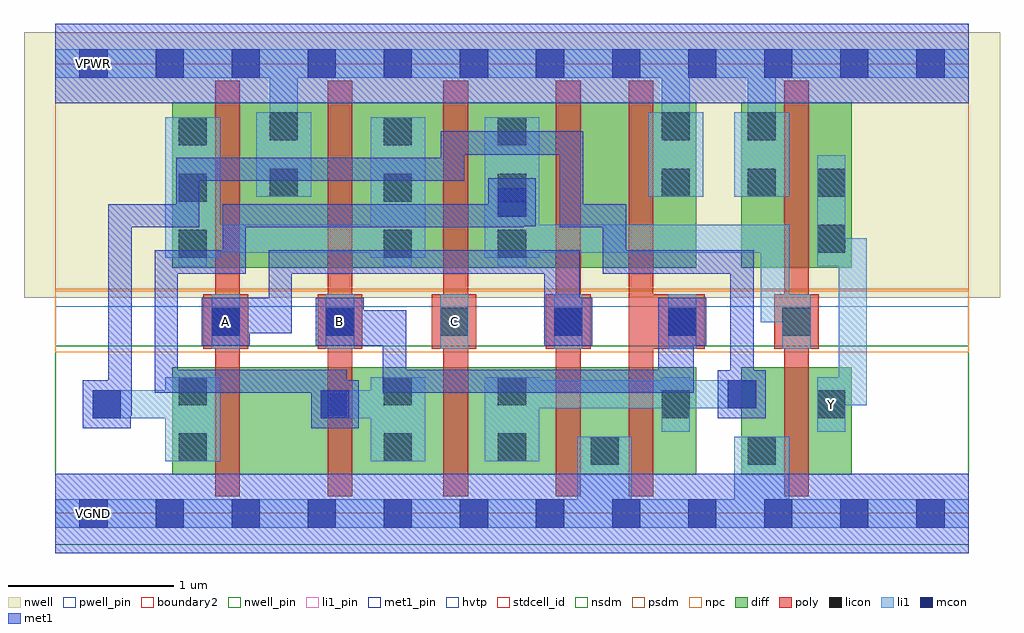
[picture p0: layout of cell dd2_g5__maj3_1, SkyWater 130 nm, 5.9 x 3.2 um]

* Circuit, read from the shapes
.subckt dd2_g5__maj3_1 A B C VGND VNB VPB VPWR Y
XM1 n1 A n2 VNB sky130_fd_pr__nfet_01v8 w=0.65 l=0.15
XM2 n3 B n1 VNB sky130_fd_pr__nfet_01v8 w=0.65 l=0.15
XM3 n2 C n3 VNB sky130_fd_pr__nfet_01v8 w=0.65 l=0.15
XM4 VGND A n2 VNB sky130_fd_pr__nfet_01v8 w=0.65 l=0.15
XM5 n2 B VGND VNB sky130_fd_pr__nfet_01v8 w=0.65 l=0.15
XM6 Y n3 VGND VNB sky130_fd_pr__nfet_01v8 w=0.65 l=0.15
XM7 VPWR A n4 VPB sky130_fd_pr__pfet_01v8_hvt w=1 l=0.15
XM8 n4 B VPWR VPB sky130_fd_pr__pfet_01v8_hvt w=1 l=0.15
XM9 n3 C n4 VPB sky130_fd_pr__pfet_01v8_hvt w=1 l=0.15
XM10 n5 A n3 VPB sky130_fd_pr__pfet_01v8_hvt w=1 l=0.15
XM11 VPWR B n5 VPB sky130_fd_pr__pfet_01v8_hvt w=1 l=0.15
XM12 Y n3 VPWR VPB sky130_fd_pr__pfet_01v8_hvt w=1 l=0.15
.ends

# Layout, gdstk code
import gdstk
lib = gdstk.Library(unit=1e-6, precision=1e-09)
def R(c, l, rs):  # rectangles x0, y0, x1, y1
    for r in rs: c.add(gdstk.rectangle(r[:2], r[2:], *l))
def A(c, l, x, y, w, h, nx, ny, dx, dy):  # array of equal rectangles
    R(c, l, [(x+i*dx, y+j*dy, x+i*dx+w, y+j*dy+h) for i in range(nx) for j in range(ny)])
nwell_pin = (64, 16)
nwell = (64, 20)
diff = (65, 20)
poly = (66, 20)
licon = (66, 44)
li1_pin = (67, 16)
li1 = (67, 20)
mcon = (67, 44)
met1_pin = (68, 16)
met1 = (68, 20)
hvtp = (78, 44)
stdcell_id = (81, 4)
nsdm = (93, 44)
psdm = (94, 20)
npc = (95, 20)
pwell_pin = (122, 16)
boundary2 = (236, 0)

dd2_g5__maj3_1 = lib.new_cell('dd2_g5__maj3_1')
R(dd2_g5__maj3_1, nwell_pin, [(0.145,2.635,0.315,2.805)])
R(dd2_g5__maj3_1, nwell, [(-0.19,1.305,5.71,2.91)])
R(dd2_g5__maj3_1, diff, [(0.705,0.235,1.72,0.885), (1.04,0.235,2.42,0.885), (1.72,0.235,3.1,0.885), (2.42,0.235,3.54,0.885), (3.1,0.235,3.875,0.885), (4.145,0.235,4.815,0.885), (0.705,1.485,1.72,2.485), (1.04,1.485,2.42,2.485), (1.72,1.485,3.1,2.485), (2.42,1.485,3.54,2.485), (3.1,1.485,3.875,2.485), (4.145,1.485,4.815,2.485)])
A(dd2_g5__maj3_1, poly, 0.895, 0.995, 0.27, 0.33, 4, 1, 0.69, 0)
R(dd2_g5__maj3_1, poly, [(0.965,0.105,1.115,2.615), (1.645,0.105,1.795,2.615), (2.345,0.105,2.495,2.615), (3.025,0.105,3.175,2.615), (3.465,0.105,3.615,2.615), (4.405,0.105,4.555,2.615), (3.465,0.995,3.925,1.325), (4.345,0.995,4.615,1.325)])
A(dd2_g5__maj3_1, licon, 0.945, 1.075, 0.17, 0.17, 6, 1, 0.69, 0)
A(dd2_g5__maj3_1, licon, 0.745, 1.545, 0.17, 0.17, 1, 3, 0, 0.34)
A(dd2_g5__maj3_1, licon, 1.985, 1.545, 0.17, 0.17, 1, 3, 0, 0.34)
A(dd2_g5__maj3_1, licon, 2.675, 1.545, 0.17, 0.17, 1, 3, 0, 0.34)
R(dd2_g5__maj3_1, licon, [(3.235,0.295,3.405,0.465), (4.185,0.295,4.355,0.465), (0.745,0.315,0.915,0.485), (1.985,0.315,2.155,0.485), (2.675,0.315,2.845,0.485), (3.665,0.575,3.835,0.745), (4.605,0.575,4.775,0.745), (0.745,0.655,0.915,0.825), (1.985,0.655,2.155,0.825), (2.675,0.655,2.845,0.825), (4.605,1.575,4.775,1.745), (1.295,1.915,1.465,2.085), (3.665,1.915,3.835,2.085), (4.185,1.915,4.355,2.085), (4.605,1.915,4.775,2.085), (1.295,2.255,1.465,2.425), (3.665,2.255,3.835,2.425), (4.185,2.255,4.355,2.425)])
A(dd2_g5__maj3_1, li1_pin, 0.955, 1.085, 0.15, 0.15, 5, 1, 0.69, 0)
R(dd2_g5__maj3_1, li1_pin, [(0.145,-0.085,0.315,0.085), (4.615,0.585,4.765,0.735), (0.145,2.635,0.315,2.805)])
A(dd2_g5__maj3_1, li1, 0.945, 0.995, 0.17, 0.33, 5, 1, 0.69, 0)
R(dd2_g5__maj3_1, li1, [(0,-0.085,5.52,0.085), (3.155,0.085,3.485,0.465), (4.105,0.085,4.435,0.465), (0.665,0.315,0.995,0.575), (1.905,0.315,2.235,0.575), (2.595,0.315,2.925,0.635), (3.665,0.495,3.835,0.635), (4.605,0.495,4.775,0.655), (0.225,0.575,0.995,0.745), (1.605,0.575,2.235,0.745), (2.595,0.635,4.235,0.805), (4.605,0.655,4.905,0.825), (0.665,0.745,0.995,0.825), (1.905,0.745,2.235,0.825), (2.595,0.805,2.925,0.825), (3.665,0.805,3.835,0.825), (4.735,0.825,4.905,1.495), (4.395,0.995,4.565,1.155), (4.265,1.155,4.565,1.325), (4.265,1.325,4.435,1.575), (0.745,1.495,0.915,1.545), (1.985,1.495,2.155,1.545), (2.675,1.495,2.845,1.545), (4.605,1.495,4.905,1.665), (0.665,1.545,0.995,1.575), (1.905,1.545,2.235,1.575), (2.595,1.545,2.925,1.575), (0.665,1.575,2.235,1.745), (2.595,1.575,4.435,1.745), (4.605,1.665,4.775,2.165), (0.665,1.745,0.995,2.395), (1.905,1.745,2.235,2.395), (2.595,1.745,2.925,2.395), (1.215,1.915,1.545,2.425), (3.585,1.915,3.915,2.425), (4.105,1.915,4.435,2.425), (1.295,2.425,1.465,2.635), (3.665,2.425,3.835,2.635), (4.185,2.425,4.355,2.635), (0,2.635,5.52,2.805)])
A(dd2_g5__maj3_1, mcon, 0.145, -0.085, 0.17, 0.17, 12, 2, 0.46, 2.72)
R(dd2_g5__maj3_1, mcon, [(0.225,0.575,0.395,0.745), (1.605,0.575,1.775,0.745), (4.065,0.635,4.235,0.805), (0.945,1.075,1.115,1.245), (1.635,1.075,1.805,1.245), (3.015,1.075,3.185,1.245), (3.705,1.075,3.875,1.245), (2.675,1.795,2.845,1.965)])
R(dd2_g5__maj3_1, met1_pin, [(0.145,-0.085,0.315,0.085), (0.145,2.635,0.315,2.805)])
R(dd2_g5__maj3_1, met1, [(0,-0.24,5.52,0.24), (0.165,0.515,0.455,0.59), (1.545,0.515,1.835,0.73), (4.005,0.575,4.295,0.865), (0.165,0.59,0.46,0.805), (0.6,0.73,1.835,0.805), (1.98,0.73,3.86,0.87), (0.32,0.805,0.46,1.73), (0.6,0.805,1.76,0.87), (4.08,0.865,4.22,1.45), (0.6,0.87,0.74,1.45), (1.98,0.87,2.12,1.015), (3.645,0.87,3.86,1.015), (0.885,1.015,1.175,1.09), (1.575,1.015,2.12,1.23), (2.955,1.015,3.245,1.305), (3.645,1.015,3.935,1.305), (0.885,1.09,1.43,1.305), (1.575,1.23,1.865,1.305), (1.29,1.305,1.43,1.45), (2.955,1.305,3.17,1.45), (0.6,1.45,1.15,1.59), (1.29,1.45,3.17,1.59), (3.31,1.45,4.22,1.59), (1.01,1.59,1.15,1.73), (3.31,1.59,3.45,1.73), (0.32,1.73,0.87,1.87), (1.01,1.73,2.83,1.735), (3.05,1.73,3.45,1.87), (1.01,1.735,2.905,1.87), (0.73,1.87,0.87,2.01), (2.615,1.87,2.905,2.025), (3.05,1.87,3.19,2.17), (0.73,2.01,2.47,2.15), (2.33,2.15,2.47,2.17), (2.33,2.17,3.19,2.31), (0,2.48,5.52,2.96)])
R(dd2_g5__maj3_1, hvtp, [(0,1.25,5.52,2.72)])
R(dd2_g5__maj3_1, stdcell_id, [(0,0,5.52,2.72)])
R(dd2_g5__maj3_1, nsdm, [(0,-0.19,5.52,1.015)])
R(dd2_g5__maj3_1, psdm, [(0,1.355,5.52,2.91)])
R(dd2_g5__maj3_1, npc, [(0,0.975,5.52,1.345)])
R(dd2_g5__maj3_1, pwell_pin, [(0.145,-0.085,0.315,0.085)])
R(dd2_g5__maj3_1, boundary2, [(0,0,5.52,2.72)])
dd2_g5__maj3_1.add(gdstk.Label('VPWR', (0.23,2.72), layer=68, texttype=5))
dd2_g5__maj3_1.add(gdstk.Label('VGND', (0.23,0), layer=68, texttype=5))
dd2_g5__maj3_1.add(gdstk.Label('VPWR', (0.23,2.72), layer=67, texttype=5))
dd2_g5__maj3_1.add(gdstk.Label('VGND', (0.23,0), layer=67, texttype=5))
dd2_g5__maj3_1.add(gdstk.Label('A', (1.03,1.16), layer=67, texttype=5))
dd2_g5__maj3_1.add(gdstk.Label('B', (1.72,1.16), layer=67, texttype=5))
dd2_g5__maj3_1.add(gdstk.Label('C', (2.41,1.16), layer=67, texttype=5))
dd2_g5__maj3_1.add(gdstk.Label('Y', (4.69,0.66), layer=67, texttype=5))
dd2_g5__maj3_1.add(gdstk.Label('VPB', (0.23,2.72), layer=64, texttype=5))
dd2_g5__maj3_1.add(gdstk.Label('VNB', (0.23,0), layer=64, texttype=59))

lib.write_gds('dd2_g5__maj3_1.gds')
